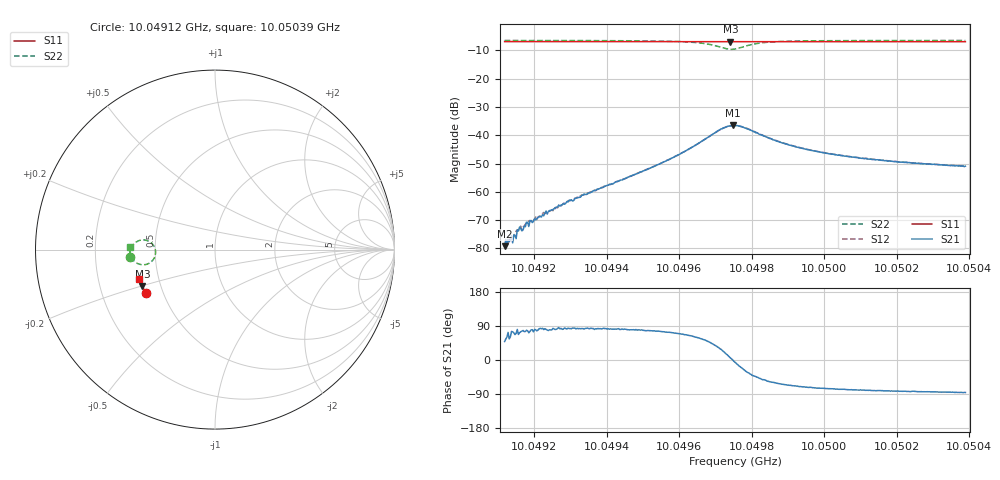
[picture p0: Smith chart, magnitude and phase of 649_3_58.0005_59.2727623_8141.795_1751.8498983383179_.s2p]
#  HZ  S  RI  R  50.00
! Rohde & Schwarz Vector Network Analyzer
! Rohde-Schwarz,ZNB20-2Port,1311601062101988,3.16
! Created: UTC 3/21/2024, 1:19:23 AM
! freq[Hz]  re:S11  im:S11  re:S21  im:S21  re:S12  im:S12  re:S22  im:S22
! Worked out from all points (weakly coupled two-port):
!   401 points, 10.04912 GHz to 10.05039 GHz, reference 50 ohm
!   highest |S21| = -36.52 dB at 10.04975 GHz (marker M1); lowest = -79.2 dB at 10.04912 GHz (marker M2)
!   lowest |S11| = -6.9 dB at 10.04974 GHz (marker M3), VSWR 2.65, Z = 19.8 - j10.1 ohm
!   |S11| at or under -10 dB: nowhere
!   |S22| runs from -9.6 to -6.5 dB; largest |S21 - S12| = 0.0012
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1.0049119e10  -0.3866 -0.2395  7.2e-05 8.24e-05  3.86e-05 0.000111  -0.4738 -0.0403
1.0049135e10  -0.3872 -0.2386  6.81e-05 0.000124  1.44e-05 0.000148  -0.4738 -0.0388
1.0049147e10  -0.3875 -0.2377  6.63e-05 0.000157  2.5e-05 0.00018  -0.4736 -0.0377
1.0049157e10  -0.3878 -0.2373  7.82e-05 0.000187  3.93e-05 0.000204  -0.4735 -0.0369
1.004917e10  -0.3882 -0.2364  4.44e-05 0.000206  4.18e-05 0.000235  -0.4737 -0.0357
1.0049186e10  -0.3887 -0.2355  7.62e-05 0.000232  5.64e-05 0.0003  -0.4736 -0.0343
1.0049192e10  -0.389 -0.2352  5.73e-05 0.000305  1.69e-05 0.000297  -0.4738 -0.0337
1.0049262e10  -0.3913 -0.2311  8.23e-05 0.000528  4.11e-05 0.00053  -0.4735 -0.0269
1.0049332e10  -0.3934 -0.2271  0.000104 0.000862  4.32e-05 0.000882  -0.4728 -0.0193
1.0049544e10  -0.4 -0.2144  0.000741 0.00299  0.000568 0.00302  -0.4636 0.0143
1.0049618e10  -0.4019 -0.2099  0.00209 0.00487  0.00178 0.00495  -0.4481 0.0351
1.0049691e10  -0.4036 -0.2052  0.00745 0.00709  0.00694 0.00747  -0.3935 0.0538
1.0049719e10  -0.4039 -0.2036  0.0119 0.00553  0.0115 0.00629  -0.3525 0.0348
1.0049741e10  -0.404 -0.2026  0.0146 0.00142  0.0145 0.00254  -0.3316 -0.00637
1.0049748e10  -0.4041 -0.2024  0.0149 7.46e-05  0.0149 0.00113  -0.3312 -0.0205
1.0049754e10  -0.4044 -0.2022  0.0147 -0.00151  0.0149 -0.000526  -0.3336 -0.0345
1.0049789e10  -0.4056 -0.2008  0.0109 -0.00704  0.0114 -0.00637  -0.3787 -0.0813
1.0049834e10  -0.4073 -0.1984  0.00598 -0.00762  0.0064 -0.00738  -0.4287 -0.0787
1.0049897e10  -0.4095 -0.1944  0.00284 -0.00635  0.00327 -0.0062  -0.4568 -0.0567
1.0049967e10  -0.4115 -0.1902  0.00159 -0.00514  0.00192 -0.00505  -0.4671 -0.0385
1.005018e10  -0.4168 -0.1772  0.000516 -0.00349  0.00074 -0.00345  -0.4747 -0.00695
1.0050389e10  -0.4217 -0.1642  0.000211 -0.00284  0.000384 -0.00286  -0.4754 0.0136
